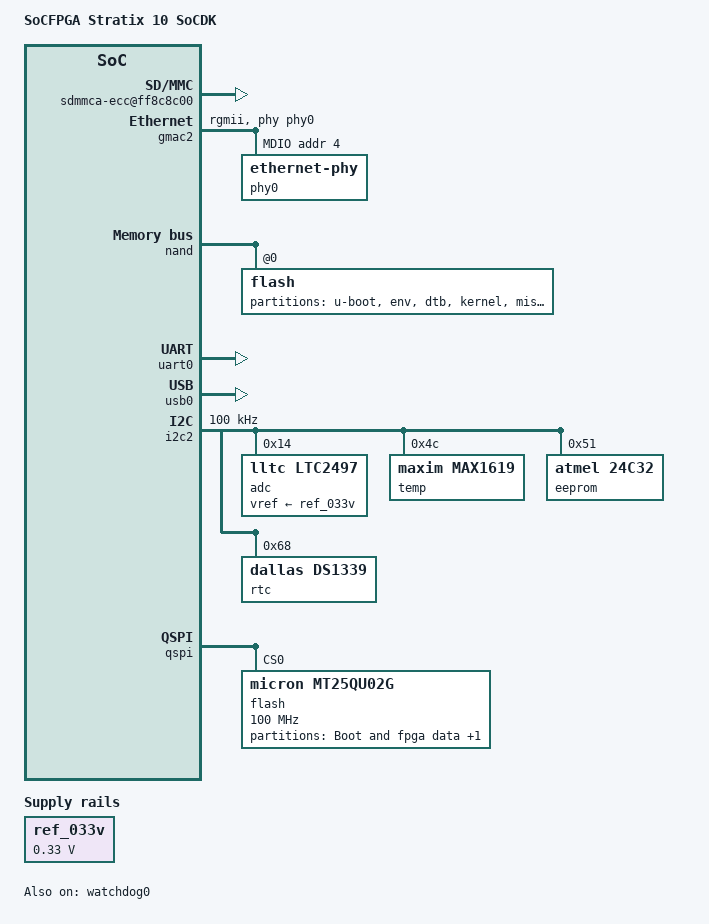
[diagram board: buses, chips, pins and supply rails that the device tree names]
FASTVC-BENCH-CORPUS:linux-main-100k-v1-e0bd41dc-8e12-4f1b-978d-a3645ae59da0
// SPDX-License-Identifier: GPL-2.0-only
/*
 * Copyright Altera Corporation (C) 2015. All rights reserved.
 */

#include "socfpga_stratix10.dtsi"

/ {
	model = "SoCFPGA Stratix 10 SoCDK";

	aliases {
		serial0 = &uart0;
		ethernet0 = &gmac0;
		ethernet1 = &gmac1;
		ethernet2 = &gmac2;
	};
/* bench 16279.2.0 daee7b007db6 */
/* bench 16279.2.1 3b18e38d048c */
/* bench 16279.2.2 71d4a7cd7fe2 */
/* bench 16279.2.3 d666a07b2b06 */
/* bench 16279.2.4 dd65e400f7ba */
/* bench 16279.2.5 d84b5030833c */
/* bench 16279.2.6 ddc06cac1647 */
/* bench 16279.2.7 0d8c62b6910a */
/* bench 16279.2.8 6f0aaede23db */
/* bench 16279.2.9 fc036fae5bc6 */
/* bench 16279.2.10 98e9c784049a */
/* bench 16279.2.11 a5235a84c175 */
/* bench 16279.2.12 268a23e8d6c2 */
/* bench 16279.2.13 4922f3e61477 */
	};

	leds {
		compatible = "gpio-leds";
		hps0 {
			label = "hps_led0";
			gpios = <&portb 20 GPIO_ACTIVE_HIGH>;
		};

		hps1 {
			label = "hps_led1";
			gpios = <&portb 19 GPIO_ACTIVE_HIGH>;
		};

		hps2 {
			label = "hps_led2";
			gpios = <&portb 21 GPIO_ACTIVE_HIGH>;
		};
	};

	memory {
		device_type = "memory";
		/* We expect the bootloader to fill in the reg */
		reg = <0 0 0 0>;
	};

	ref_033v: 033-v-ref {
		compatible = "regulator-fixed";
		regulator-name = "0.33V";
		regulator-min-microvolt = <330000>;
		regulator-max-microvolt = <330000>;
	};

	soc {
		clocks {
			osc1 {
				clock-frequency = <25000000>;
			};
		};

		eccmgr {
			sdmmca-ecc@ff8c8c00 {
				compatible = "altr,socfpga-s10-sdmmc-ecc",
					     "altr,socfpga-sdmmc-ecc";
				reg = <0xff8c8c00 0x100>;
				altr,ecc-parent = <&mmc>;
				interrupts = <14 4>,
					     <15 4>;
			};
		};
	};
};

&gpio1 {
	status = "okay";
};

&gmac2 {
	status = "okay";
	phy-mode = "rgmii";
	phy-handle = <&phy0>;

	max-frame-size = <9000>;

	mdio0 {
		#address-cells = <1>;
		#size-cells = <0>;
		compatible = "snps,dwmac-mdio";
		phy0: ethernet-phy@0 {
			reg = <4>;

			txd0-skew-ps = <0>; /* -420ps */
			txd1-skew-ps = <0>; /* -420ps */
			txd2-skew-ps = <0>; /* -420ps */
			txd3-skew-ps = <0>; /* -420ps */
			rxd0-skew-ps = <420>; /* 0ps */
			rxd1-skew-ps = <420>; /* 0ps */
			rxd2-skew-ps = <420>; /* 0ps */
/* bench 27855.0.0 2c3c1a70c231 */
/* bench 27855.0.1 43278d6525ee */
/* bench 27855.0.2 b12061755725 */
/* bench 27855.0.3 ba4bc87ed4ce */
/* bench 27855.0.4 67281c256584 */
/* bench 27855.0.5 50f01d531bc6 */
/* bench 27855.0.6 8717c922d17c */
/* bench 27855.0.7 3db58b96879b */
/* bench 27855.0.8 52ebc66dde56 */
			txen-skew-ps = <0>; /* -420ps */
			txc-skew-ps = <900>; /* 0ps */
			rxdv-skew-ps = <420>; /* 0ps */
			rxc-skew-ps = <1680>; /* 780ps */
		};
	};
};

&nand {
	status = "okay";

	flash@0 {
		#address-cells = <1>;
		#size-cells = <1>;
		reg = <0>;
		nand-bus-width = <16>;

		partition@0 {
			label = "u-boot";
			reg = <0 0x200000>;
		};

		partition@200000 {
			label = "env";
			reg = <0x200000 0x40000>;
		};

		partition@240000 {
			label = "dtb";
			reg = <0x240000 0x40000>;
		};

		partition@280000 {
			label = "kernel";
			reg = <0x280000 0x2000000>;
		};

		partition@2280000 {
			label = "misc";
			reg = <0x2280000 0x2000000>;
		};

		partition@4280000 {
			label = "rootfs";
			reg = <0x4280000 0x3bd80000>;
		};
	};
};

&uart0 {
	status = "okay";
};

&usb0 {
	status = "okay";
	disable-over-current;
};

&watchdog0 {
	status = "okay";
};

&i2c2 {
	status = "okay";
	clock-frequency = <100000>;
	i2c-sda-falling-time-ns = <890>;  /* hcnt */
	i2c-sdl-falling-time-ns = <890>;  /* lcnt */

	adc@14 {
		compatible = "lltc,ltc2497";
		reg = <0x14>;
		vref-supply = <&ref_033v>;
	};

	temp@4c {
		compatible = "maxim,max1619";
		reg = <0x4c>;
	};

	eeprom@51 {
		compatible = "atmel,24c32";
		reg = <0x51>;
		pagesize = <32>;
	};

	rtc@68 {
		compatible = "dallas,ds1339";
		reg = <0x68>;
	};
};

&qspi {
	status = "okay";
	flash@0 {
		#address-cells = <1>;
		#size-cells = <1>;
		compatible = "micron,mt25qu02g", "jedec,spi-nor";
		reg = <0>;
		spi-max-frequency = <100000000>;

		m25p,fast-read;
		cdns,page-size = <256>;
		cdns,block-size = <16>;
		cdns,read-delay = <1>;
		cdns,tshsl-ns = <50>;
		cdns,tsd2d-ns = <50>;
		cdns,tchsh-ns = <4>;
		cdns,tslch-ns = <4>;

		partitions {
			compatible = "fixed-partitions";
			#address-cells = <1>;
			#size-cells = <1>;

			qspi_boot: partition@0 {
				label = "Boot and fpga data";
				reg = <0x0 0x03FE0000>;
			};

			qspi_rootfs: partition@3FE0000 {
				label = "Root Filesystem - JFFS2";
				reg = <0x03FE0000 0x0C020000>;
			};
		};
	};
};
